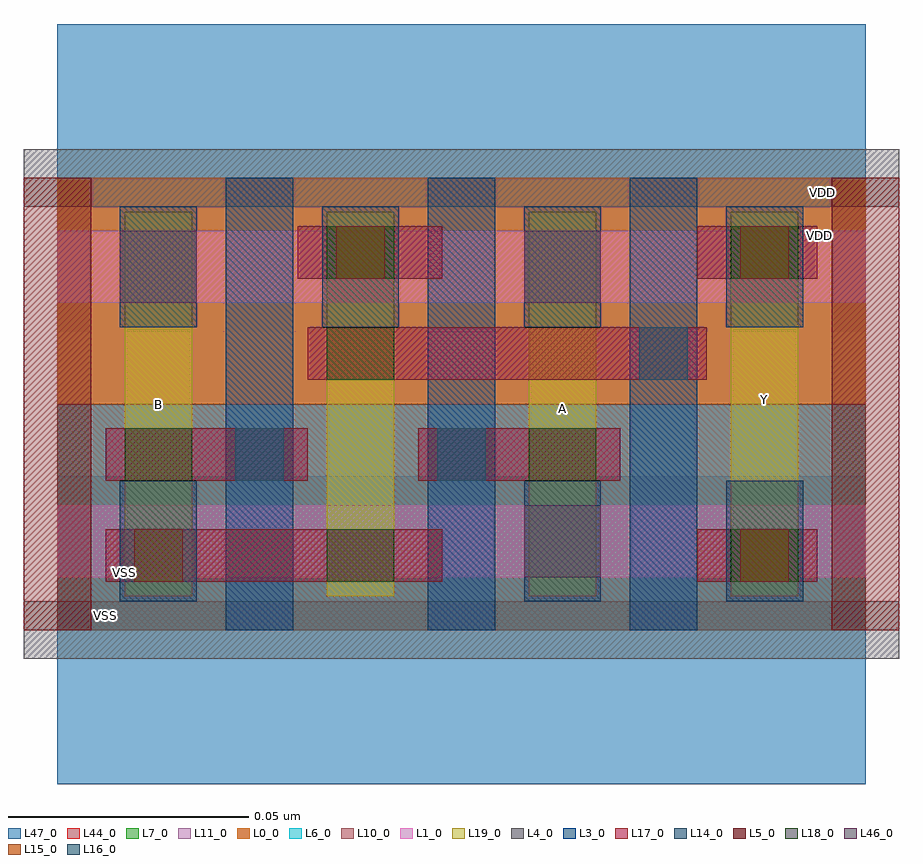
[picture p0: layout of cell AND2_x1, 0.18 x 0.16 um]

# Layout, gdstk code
import gdstk
lib = gdstk.Library(unit=1e-6, precision=5e-10)
def R(c, l, rs):  # rectangles x0, y0, x1, y1
    for r in rs: c.add(gdstk.rectangle(r[:2], r[2:], *l))
def A(c, l, x, y, w, h, nx, ny, dx, dy):  # array of equal rectangles
    R(c, l, [(x+i*dx, y+j*dy, x+i*dx+w, y+j*dy+h) for i in range(nx) for j in range(ny)])
L0_0 = (0, 0)
L1_0 = (1, 0)
L3_0 = (3, 0)
L4_0 = (4, 0)
L5_0 = (5, 0)
L6_0 = (6, 0)
L7_0 = (7, 0)
L10_0 = (10, 0)
L11_0 = (11, 0)
L14_0 = (14, 0)
L15_0 = (15, 0)
L16_0 = (16, 0)
L17_0 = (17, 0)
L18_0 = (18, 0)
L19_0 = (19, 0)
L44_0 = (44, 0)
L46_0 = (46, 0)
L47_0 = (47, 0)

and2_x1 = lib.new_cell('AND2_x1')
R(and2_x1, L0_0, [(0,0.047,0.168,0.094)])
R(and2_x1, L1_0, [(0,0.011,0.168,0.026), (0,0.068,0.168,0.083)])
A(and2_x1, L3_0, 0.035, 0, 0.014, 0.094, 3, 1, 0.042, 0)
R(and2_x1, L4_0, [(-0.007,-0.006,0.175,0.006), (-0.007,0.088,0.175,0.1)])
R(and2_x1, L5_0, [(-0.007,0,0.007,0.094), (0.161,0,0.175,0.094)])
R(and2_x1, L6_0, [(0,0,0.168,0.047)])
R(and2_x1, L7_0, [(0,0.047,0.168,0.094)])
R(and2_x1, L10_0, [(0,0,0.168,0.047)])
R(and2_x1, L11_0, [(0,0.047,0.168,0.094)])
A(and2_x1, L14_0, 0.013, 0.063, 0.016, 0.025, 4, 1, 0.042, 0)
R(and2_x1, L14_0, [(0.013,0.006,0.029,0.031), (0.097,0.006,0.113,0.031), (0.139,0.006,0.155,0.031)])
R(and2_x1, L15_0, [(0.016,0.01,0.026,0.021), (0.142,0.01,0.152,0.021), (0.058,0.073,0.068,0.084), (0.142,0.073,0.152,0.084)])
R(and2_x1, L16_0, [(0.037,0.031,0.047,0.042), (0.079,0.031,0.089,0.042), (0.121,0.052,0.131,0.063)])
R(and2_x1, L17_0, [(0.01,0.01,0.08,0.021), (0.133,0.01,0.158,0.021), (0.01,0.031,0.052,0.042), (0.075,0.031,0.117,0.042), (0.052,0.052,0.135,0.063), (0.05,0.073,0.08,0.084), (0.133,0.073,0.158,0.084)])
R(and2_x1, L18_0, [(0.056,0.01,0.07,0.021), (0.14,0.01,0.154,0.021), (0.014,0.031,0.028,0.042), (0.098,0.031,0.112,0.042), (0.056,0.052,0.07,0.063), (0.056,0.073,0.07,0.084), (0.14,0.073,0.154,0.084)])
A(and2_x1, L19_0, 0.014, 0.007, 0.014, 0.08, 4, 1, 0.042, 0)
R(and2_x1, L44_0, [(0,0,0.168,0.094)])
R(and2_x1, L46_0, [(0.097,0.011,0.113,0.026), (0.013,0.068,0.029,0.083), (0.097,0.068,0.113,0.083)])
R(and2_x1, L47_0, [(0,-0.032,0.168,0.032), (0,0.062,0.168,0.126)])
and2_x1.add(gdstk.Label('VSS', (0.01,0.003), layer=54, texttype=2))
and2_x1.add(gdstk.Label('Y', (0.147,0.048), layer=19, texttype=2))
and2_x1.add(gdstk.Label('A', (0.105,0.046), layer=19, texttype=2))
and2_x1.add(gdstk.Label('B', (0.021,0.047), layer=19, texttype=2))
and2_x1.add(gdstk.Label('VDD', (0.159,0.091), layer=0, texttype=2))
and2_x1.add(gdstk.Label('VSS', (0.014,0.012), layer=47, texttype=2))
and2_x1.add(gdstk.Label('VDD', (0.1585,0.082), layer=47, texttype=2))

lib.write_gds('AND2_x1.gds')
